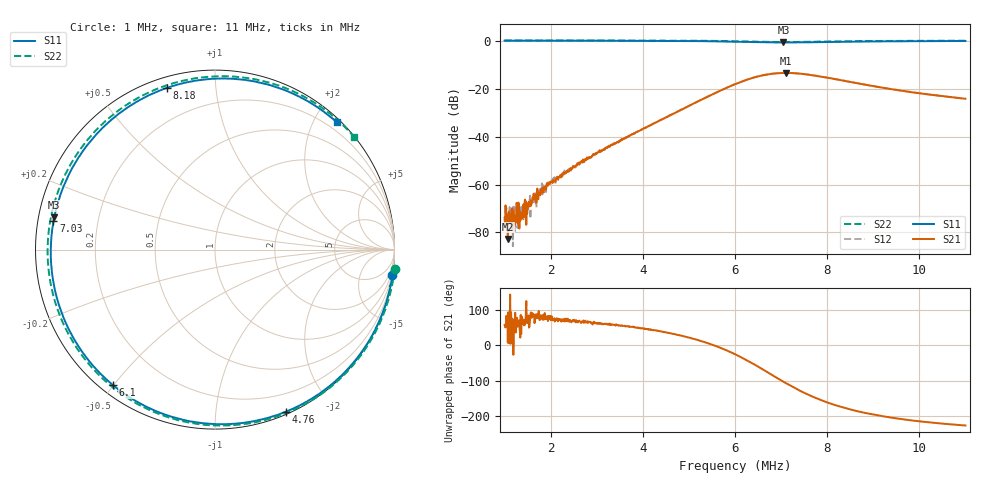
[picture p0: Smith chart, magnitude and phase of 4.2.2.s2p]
# MHz S DB R 50
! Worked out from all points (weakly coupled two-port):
!   1001 points, 1 MHz to 11 MHz, reference 50 ohm
!   highest |S21| = -13.48 dB at 7.11 MHz (marker M1); lowest = -82.7 dB at 1.07 MHz (marker M2)
!   lowest |S11| = -0.8 dB at 7.05 MHz (marker M3), VSWR 22.11, Z = 2.28 + j4.94 ohm
!   |S11| at or under -10 dB: nowhere
!   |S22| runs from -0.6 to 0.1 dB; largest |S21 - S12| = 0.001
!   S11 on the Smith chart (normalised r, x): 1 MHz: 0, -14; 4.76 MHz: 0.02, -1.53; 6.1 MHz: 0.04, -0.50; 7.03 MHz: 0.05, +0.09; 8.18 MHz: 0.05, +0.75; 11 MHz: 0.06, +2.34
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1  -0.01 -8.3  -73.78 57.6  -76.08 99.5  0.06 -6.2
1.07  -0.01 -8.9  -82.70 7.1  -74.29 85.9  0.06 -6.6
1.1  -0.01 -9.2  -71.13 5.6  -71.30 86.9  0.06 -6.8
1.23  -0.01 -10.4  -73.36 91.7  -71.15 11.7  0.06 -7.7
1.31  -0.01 -11.1  -69.30 70.5  -67.77 39.4  0.06 -8.3
1.37  -0.01 -11.7  -74.16 81.1  -69.34 75.4  0.06 -8.7
1.66  -0.01 -14.5  -66.11 72.3  -63.56 84.0  0.05 -10.8
1.96  -0.01 -17.6  -59.80 82.5  -59.45 75.4  0.05 -13.0
2.67  -0.02 -25.9  -50.26 67.1  -50.63 66.8  0.05 -19.3
4.34  -0.08 -54.9  -33.58 40.7  -33.59 40.5  0.02 -42.3
4.76  -0.12 -66.4  -29.55 29.1  -29.52 29.5  -0.00 -52.0
5.4  -0.25 -89.9  -23.42 6.4  -23.40 6.4  -0.09 -73.4
6  -0.45 -120.9  -18.18 -25.2  -18.15 -25.0  -0.27 -105.4
6.1  -0.49 -126.9  -17.41 -31.6  -17.39 -31.4  -0.31 -112.2
6.62  -0.71 -161.6  -14.40 -69.3  -14.37 -69.2  -0.53 -154.6
7.03  -0.78 170.0  -13.50 -101.2  -13.48 -101.1  -0.61 168.2
7.05  -0.79 168.7  -13.49 -102.7  -13.47 -102.6  -0.61 166.5
7.11  -0.79 164.7  -13.48 -107.2  -13.47 -107.1  -0.61 161.3
7.67  -0.69 130.7  -14.39 -144.1  -14.37 -144.0  -0.48 119.3
8.18  -0.54 106.5  -16.07 -169.1  -16.06 -168.9  -0.33 92.9
9.34  -0.30 71.5  -20.06 156.9  -20.03 157.2  -0.12 59.7
11  -0.16 46.3  -24.23 133.8  -24.22 133.9  -0.03 38.9
